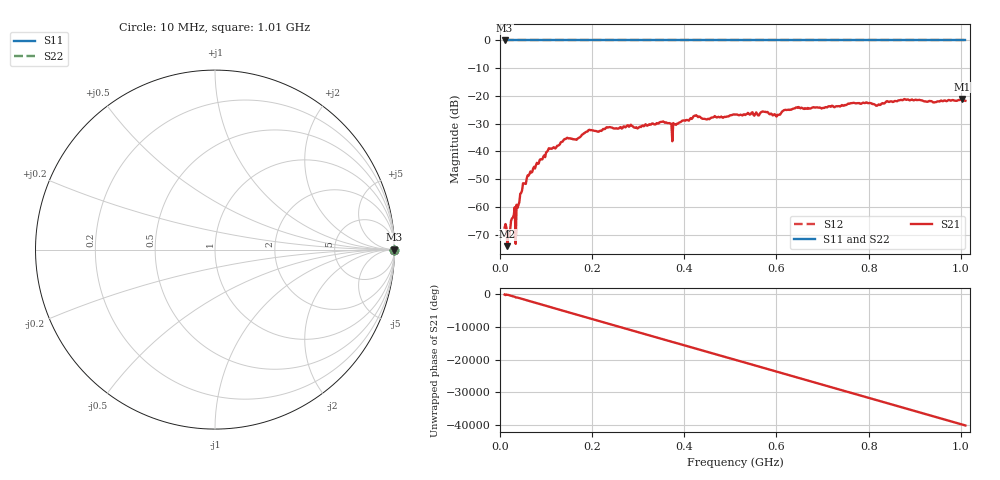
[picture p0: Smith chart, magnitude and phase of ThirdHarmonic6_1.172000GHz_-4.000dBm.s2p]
! 8/16/2025 11:52:20 AM
! C:\ANRITSUVNA\TEMP\TEMP.S2P
! CHANNEL.1
! TR.MEASUREMENT
! RAW.DATA
! RF.CORRECTION.OFF
! AVERAGING.OFF
! IF.BANDWIDTH: 5KHZ
! SWEEPTYPE:  FREQ.SWEEP(Linear)
! Reference Plane Port Info
! PORT:  PORT1  PORT2
! DISTANCE:  0  m  0  m
! TIME:  0  s  0  s
! PHASE.OFFSET:  0  deg.  0  deg.
! LOSS:  0  dB  0  dB
! REF.LOSS:  0  dB  0  dB
! REF.FREQ:  0  Hz  0  Hz
! Power Info
! POWER:  -20  dBm  -20  dBm
! EFF.POWER:  -20  dBm  -20  dBm
! SOURCE.ATTEN:  0  dB  0  dB
! TEST.ATTEN:  0  dB  0  dB
# GHZ S RI R 50.0
! FREQ.GHZ  S11RE  S11IM  S21RE  S21IM  S12RE  S12IM  S22RE  S22IM
!; PortSelection: Port_12
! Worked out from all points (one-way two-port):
!   501 points, 10 MHz to 1.01 GHz, reference 50 ohm
!   highest |S21| = -21.09 dB at 1.002 GHz (marker M1); lowest = -74.2 dB at 16 MHz (marker M2)
!   lowest |S11| = 0.0 dB at 10 MHz (marker M3)
!   |S11| at or under -10 dB: nowhere
!   |S22| runs from 0.0 to 0.0 dB; largest |S21 - S12| = 1.1
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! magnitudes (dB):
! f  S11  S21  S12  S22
! 10 MHz  0.0  -67.5  0.0  0.0
! 16 MHz  0.0  -74.2  0.0  0.0
! 20 MHz  0.0  -70.6  0.0  0.0
! 28 MHz  0.0  -63.8  0.0  0.0
! 30 MHz  0.0  -62.9  0.0  0.0
! 38 MHz  0.0  -60.4  0.0  0.0
! 40 MHz  0.0  -59.3  0.0  0.0
! 48 MHz  0.0  -54.0  0.0  0.0
! 76 MHz  0.0  -46.2  0.0  0.0
! 106 MHz  0.0  -38.8  0.0  0.0
! 178 MHz  0.0  -34.0  0.0  0.0
! 196 MHz  0.0  -32.3  0.0  0.0
! 344 MHz  0.0  -29.9  0.0  0.0
! 378 MHz  0.0  -30.2  0.0  0.0
! 424 MHz  0.0  -27.1  0.0  0.0
! 450 MHz  0.0  -28.4  0.0  0.0
! 510 MHz  0.0  -26.7  0.0  0.0
! 602 MHz  0.0  -26.8  0.0  0.0
! 678 MHz  0.0  -24.2  0.0  0.0
! 844 MHz  0.0  -22.2  0.0  0.0
! 1.002 GHz  0.0  -21.1  0.0  0.0
! 1.01 GHz  0.0  -21.7  0.0  0.0
